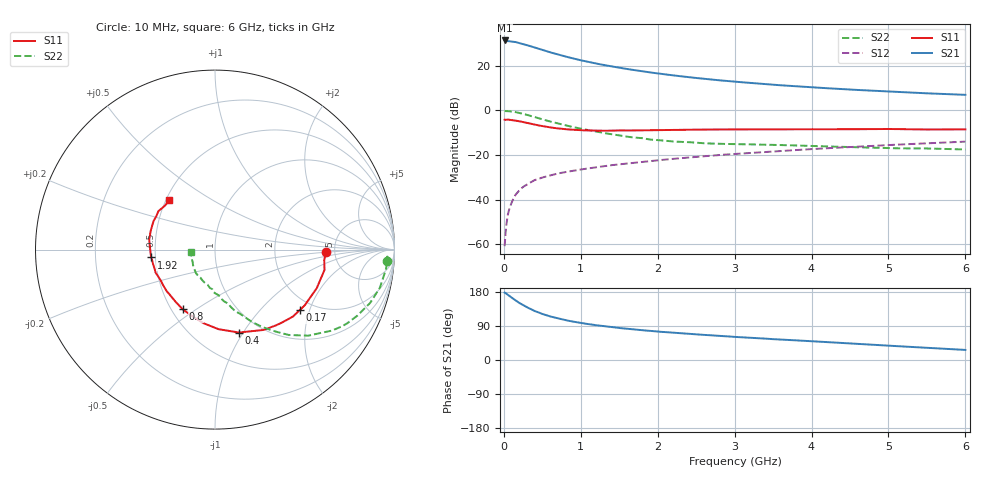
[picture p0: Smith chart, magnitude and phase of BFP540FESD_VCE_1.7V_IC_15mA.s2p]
! (c) 2015  Infineon Technologies AG, Munich
! Infineon Technologies  Discrete & RF Semiconductors
! BFP540FESD
! VCE =  1.7 V,  IC =  15 mA
! Common Emitter S-Parameters:  Nov 2015
# GHz  S  MA  R  50
!  f  S11  S21  S12  S22
! GHz  MAG  ANG  MAG  ANG  MAG  ANG  MAG  ANG
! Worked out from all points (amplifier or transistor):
!   210 points, 10 MHz to 6 GHz, reference 50 ohm
!   highest |S21| = 31.3 dB at 10 MHz (marker M1)
!   |S21| within 3 dB of that: start of sweep to 386.5 MHz
!   unconditionally stable (mu >= 1): 1.903 GHz to end of sweep
!   at 185 MHz: K = 0.22, MSG = 33.4 dB, |S12| = -36.5 dB
!   at 1.52 GHz: K = 0.92, MSG = 21.6 dB, |S12| = -24.2 dB
!   at 6 GHz: K = 1.19, MAG = 7.9 dB, |S12| = -14.0 dB
!   S11 on the Smith chart (normalised r, x): 10 MHz: 4.23, -0.19; 170 MHz: 1.70, -1.72; 400 MHz: 0.80, -0.96; 800 MHz: 0.57, -0.44; 1.92 GHz: 0.47, -0.05; 6 GHz: 0.52, +0.33
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0.01  0.6181 -1.3  36.81 177.9  0.0009 98.2  0.9611 -3.7
0.02  0.6113 -5.6  35.71 176.9  0.0015 88.5  0.9611 -2.3
0.05  0.6205 -10.5  35.75 172.4  0.0044 78.2  0.9594 -6.3
0.1  0.6063 -20.8  34.99 164.8  0.0084 81.0  0.9431 -13.0
0.15  0.5884 -31.9  34.01 157.7  0.0127 78.1  0.9137 -19.0
0.17  0.5804 -35.4  33.29 155.0  0.014 76.7  0.8971 -21.3
0.2  0.5724 -40.7  32.36 150.7  0.0159 75.1  0.875 -24.8
0.3  0.5233 -58.8  29.03 139.0  0.0216 68.9  0.7915 -34.8
0.4  0.4808 -73.9  25.65 129.3  0.0272 64.9  0.7071 -42.7
0.5  0.4439 -87.4  22.67 121.5  0.0311 61.3  0.628 -49.2
0.6  0.415 -98.9  20 115.1  0.0346 60.1  0.5616 -54.0
0.8  0.378 -118.5  16.07 105.1  0.0413 58.7  0.4598 -62.4
1.02  0.3563 -134.1  13.01 97.2  0.0477 57.3  0.3814 -69.0
1.2  0.3509 -145.5  11.17 91.8  0.0529 56.9  0.3334 -74.4
1.4  0.3498 -154.8  9.662 86.8  0.0589 56.4  0.2909 -80.4
1.92  0.3579 -173.0  7.001 76.5  0.0735 55.6  0.2198 -94.6
2.02  0.3595 -176.5  6.642 74.7  0.0762 55.1  0.2139 -98.0
2.46  0.3675 173.7  5.397 68.2  0.089 54.0  0.19 -109.3
3.1  0.3731 164.0  4.25 59.9  0.1076 51.3  0.1738 -122.6
4.1  0.377 154.2  3.202 48.4  0.138 46.3  0.157 -138.2
5.1  0.3788 144.4  2.594 36.7  0.1696 39.2  0.1409 -153.7
6  0.374 132.7  2.223 26.6  0.1984 32.3  0.1328 -173.4
